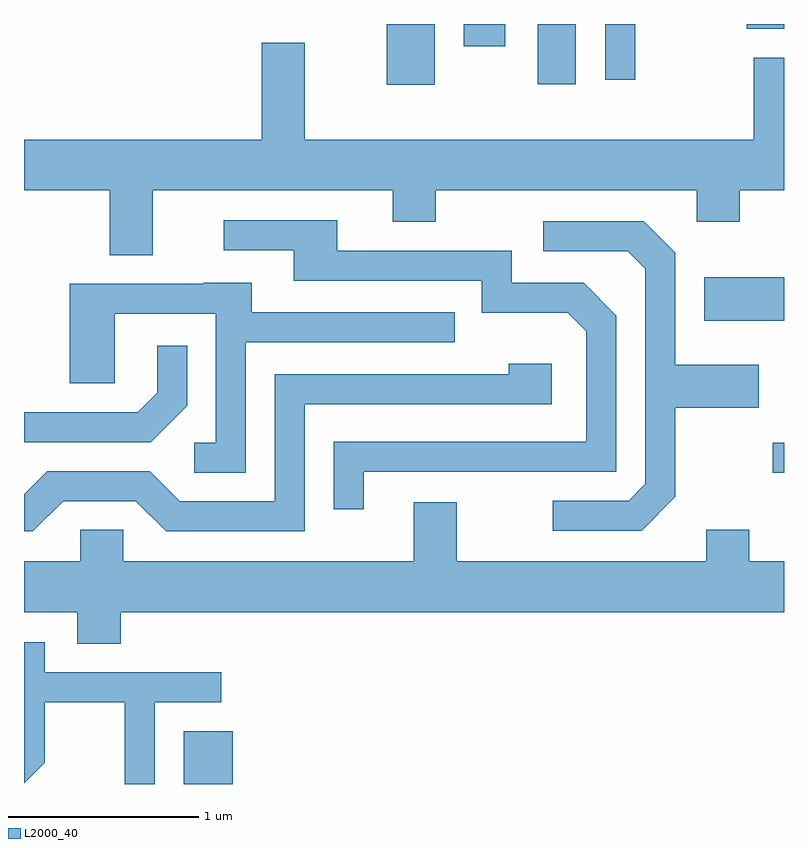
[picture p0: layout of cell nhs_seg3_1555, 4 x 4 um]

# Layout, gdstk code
import gdstk
lib = gdstk.Library(unit=1e-6, precision=1e-09)
def R(c, l, rs):  # rectangles x0, y0, x1, y1
    for r in rs: c.add(gdstk.rectangle(r[:2], r[2:], *l))
def P(c, l, *ps):  # polygons
    for p in ps: c.add(gdstk.Polygon(p, *l))
L2000_40 = (2000, 40)

nhs_seg3_1555 = lib.new_cell('nhs_seg3_1555')
R(nhs_seg3_1555, L2000_40, [(230.451,1233.892,230.709,1234.169), (233.553,1235.531,233.611,1235.689), (233.191,1236.331,233.611,1236.559), (231.521,1237.571,231.774,1237.892), (232.316,1237.576,232.514,1237.892), (232.671,1237.598,232.829,1237.892), (231.926,1237.776,232.144,1237.892), (233.416,1237.866,233.611,1237.892)])
P(nhs_seg3_1555, L2000_40, [(230.289,1237.016),(231.551,1237.016),(231.551,1236.851),(231.779,1236.851),(231.779,1237.016),(233.151,1237.016),(233.151,1236.851),(233.379,1236.851),(233.379,1237.016),(233.611,1237.016),(233.611,1237.714),(233.451,1237.714),(233.451,1237.284),(231.089,1237.284),(231.089,1237.794),(230.861,1237.794),(230.861,1237.284),(229.611,1237.284),(229.611,1237.016),(230.061,1237.016),(230.061,1236.676),(230.289,1236.676)],
  [(231.399,1235.536),(232.729,1235.536),(232.729,1236.357),(232.557,1236.529),(232.179,1236.529),(232.179,1236.699),(231.259,1236.699),(231.259,1236.859),(230.663,1236.859),(230.663,1236.701),(231.031,1236.701),(231.031,1236.541),(232.021,1236.541),(232.021,1236.371),(232.474,1236.371),(232.571,1236.274),(232.571,1235.694),(231.241,1235.694),(231.241,1235.338),(231.399,1235.338)],
  [(233.039,1235.404),(233.039,1235.871),(233.479,1235.871),(233.479,1236.099),(233.039,1236.099),(233.039,1236.687),(232.872,1236.854),(232.343,1236.854),(232.343,1236.696),(232.789,1236.696),(232.881,1236.604),(232.881,1235.472),(232.794,1235.384),(232.393,1235.384),(232.393,1235.226),(232.862,1235.226)],
  [(230.779,1236.216),(231.878,1236.216),(231.878,1236.374),(230.809,1236.374),(230.809,1236.529),(230.555,1236.529),(230.555,1236.524),(229.851,1236.524),(229.851,1236.001),(230.089,1236.001),(230.089,1236.366),(230.621,1236.366),(230.621,1235.689),(230.508,1235.689),(230.508,1235.531),(230.779,1235.531)],
  [(230.469,1235.884),(230.469,1236.198),(230.311,1236.198),(230.311,1235.952),(230.209,1235.849),(229.611,1235.849),(229.611,1235.691),(230.277,1235.691)],
  [(229.817,1235.381),(230.199,1235.381),(230.359,1235.221),(231.089,1235.221),(231.089,1235.891),(232.389,1235.891),(232.389,1236.104),(232.161,1236.104),(232.161,1236.049),(230.931,1236.049),(230.931,1235.379),(230.432,1235.379),(230.272,1235.539),(229.734,1235.539),(229.611,1235.416),(229.611,1235.221),(229.657,1235.221)],
  [(230.119,1234.796),(233.611,1234.796),(233.611,1235.064),(233.429,1235.064),(233.429,1235.229),(233.201,1235.229),(233.201,1235.064),(231.889,1235.064),(231.889,1235.374),(231.661,1235.374),(231.661,1235.064),(230.134,1235.064),(230.134,1235.229),(229.906,1235.229),(229.906,1235.064),(229.611,1235.064),(229.611,1234.796),(229.891,1234.796),(229.891,1234.631),(230.119,1234.631)],
  [(230.299,1234.321),(230.648,1234.321),(230.648,1234.479),(229.719,1234.479),(229.719,1234.639),(229.611,1234.639),(229.611,1233.896),(229.719,1234.004),(229.719,1234.321),(230.141,1234.321),(230.141,1233.892),(230.299,1233.892)])

lib.write_gds('nhs_seg3_1555.gds')
